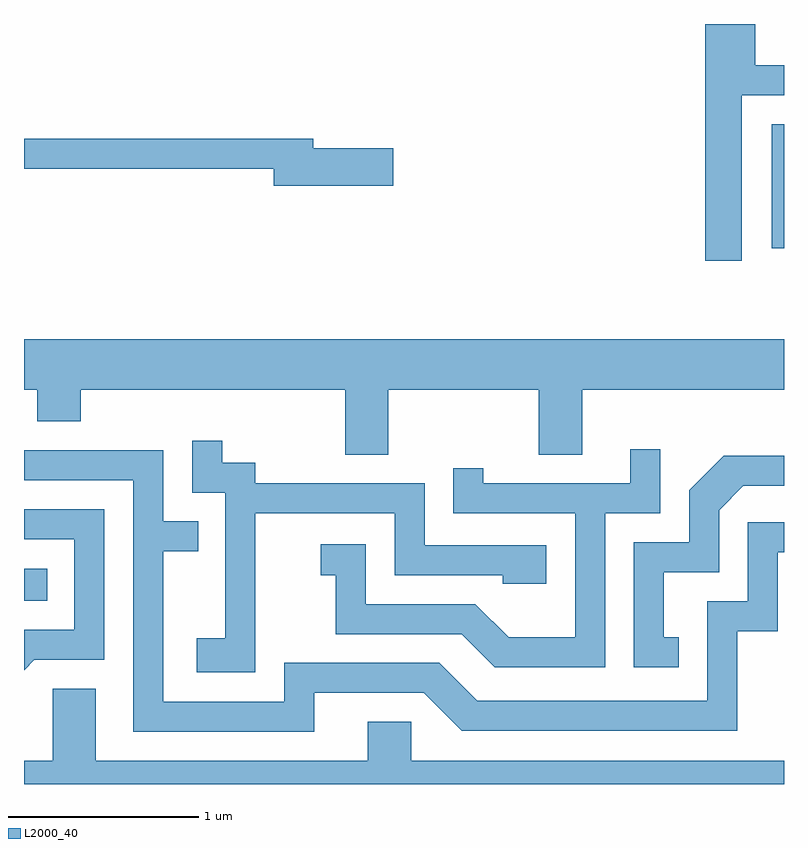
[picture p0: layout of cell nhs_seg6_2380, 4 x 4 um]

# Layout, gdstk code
import gdstk
lib = gdstk.Library(unit=1e-6, precision=1e-09)
def R(c, l, rs):  # rectangles x0, y0, x1, y1
    for r in rs: c.add(gdstk.rectangle(r[:2], r[2:], *l))
def P(c, l, *ps):  # polygons
    for p in ps: c.add(gdstk.Polygon(p, *l))
L2000_40 = (2000, 40)

nhs_seg6_2380 = lib.new_cell('nhs_seg6_2380')
R(nhs_seg6_2380, L2000_40, [(257.611,1571.126,257.733,1571.294), (261.546,1572.981,261.611,1573.634)])
P(nhs_seg6_2380, L2000_40, [(261.389,1573.786),(261.611,1573.786),(261.611,1573.944),(261.459,1573.944),(261.459,1574.162),(261.196,1574.162),(261.196,1572.916),(261.389,1572.916)],
  [(259.554,1573.509),(259.134,1573.509),(259.134,1573.559),(257.611,1573.559),(257.611,1573.401),(258.926,1573.401),(258.926,1573.311),(259.554,1573.311)],
  [(259.529,1572.236),(260.321,1572.236),(260.321,1571.896),(260.549,1571.896),(260.549,1572.236),(261.611,1572.236),(261.611,1572.504),(257.611,1572.504),(257.611,1572.236),(257.681,1572.236),(257.681,1572.071),(257.909,1572.071),(257.909,1572.236),(259.301,1572.236),(259.301,1571.896),(259.529,1571.896)],
  [(258.829,1571.586),(259.561,1571.586),(259.561,1571.261),(260.131,1571.261),(260.131,1571.216),(260.359,1571.216),(260.359,1571.419),(259.719,1571.419),(259.719,1571.744),(258.829,1571.744),(258.829,1571.854),(258.654,1571.854),(258.654,1571.968),(258.496,1571.968),(258.496,1571.696),(258.671,1571.696),(258.671,1570.929),(258.521,1570.929),(258.521,1570.751),(258.829,1570.751)],
  [(260.669,1571.586),(260.959,1571.586),(260.959,1571.923),(260.801,1571.923),(260.801,1571.744),(260.029,1571.744),(260.029,1571.823),(259.871,1571.823),(259.871,1571.586),(260.511,1571.586),(260.511,1570.934),(260.162,1570.934),(259.986,1571.109),(259.409,1571.109),(259.409,1571.424),(259.173,1571.424),(259.173,1571.261),(259.251,1571.261),(259.251,1570.951),(259.914,1570.951),(260.089,1570.776),(260.669,1570.776)],
  [(259.139,1570.641),(259.714,1570.641),(259.914,1570.441),(261.364,1570.441),(261.364,1570.966),(261.579,1570.966),(261.579,1571.381),(261.611,1571.381),(261.611,1571.539),(261.421,1571.539),(261.421,1571.124),(261.206,1571.124),(261.206,1570.599),(259.997,1570.599),(259.796,1570.799),(258.981,1570.799),(258.981,1570.594),(258.344,1570.594),(258.344,1571.386),(258.528,1571.386),(258.528,1571.544),(258.344,1571.544),(258.344,1571.919),(257.611,1571.919),(257.611,1571.761),(258.186,1571.761),(258.186,1570.436),(259.139,1570.436)],
  [(261.058,1570.934),(260.979,1570.934),(260.979,1571.276),(261.269,1571.276),(261.269,1571.604),(261.397,1571.731),(261.611,1571.731),(261.611,1571.889),(261.294,1571.889),(261.111,1571.707),(261.111,1571.434),(260.821,1571.434),(260.821,1570.776),(261.058,1570.776)],
  [(257.666,1570.816),(258.034,1570.816),(258.034,1571.609),(257.611,1571.609),(257.611,1571.451),(257.876,1571.451),(257.876,1570.974),(257.611,1570.974),(257.611,1570.761)],
  [(261.611,1570.284),(259.649,1570.284),(259.649,1570.489),(259.421,1570.489),(259.421,1570.284),(257.989,1570.284),(257.989,1570.664),(257.761,1570.664),(257.761,1570.284),(257.611,1570.284),(257.611,1570.162),(261.611,1570.162)])

lib.write_gds('nhs_seg6_2380.gds')
